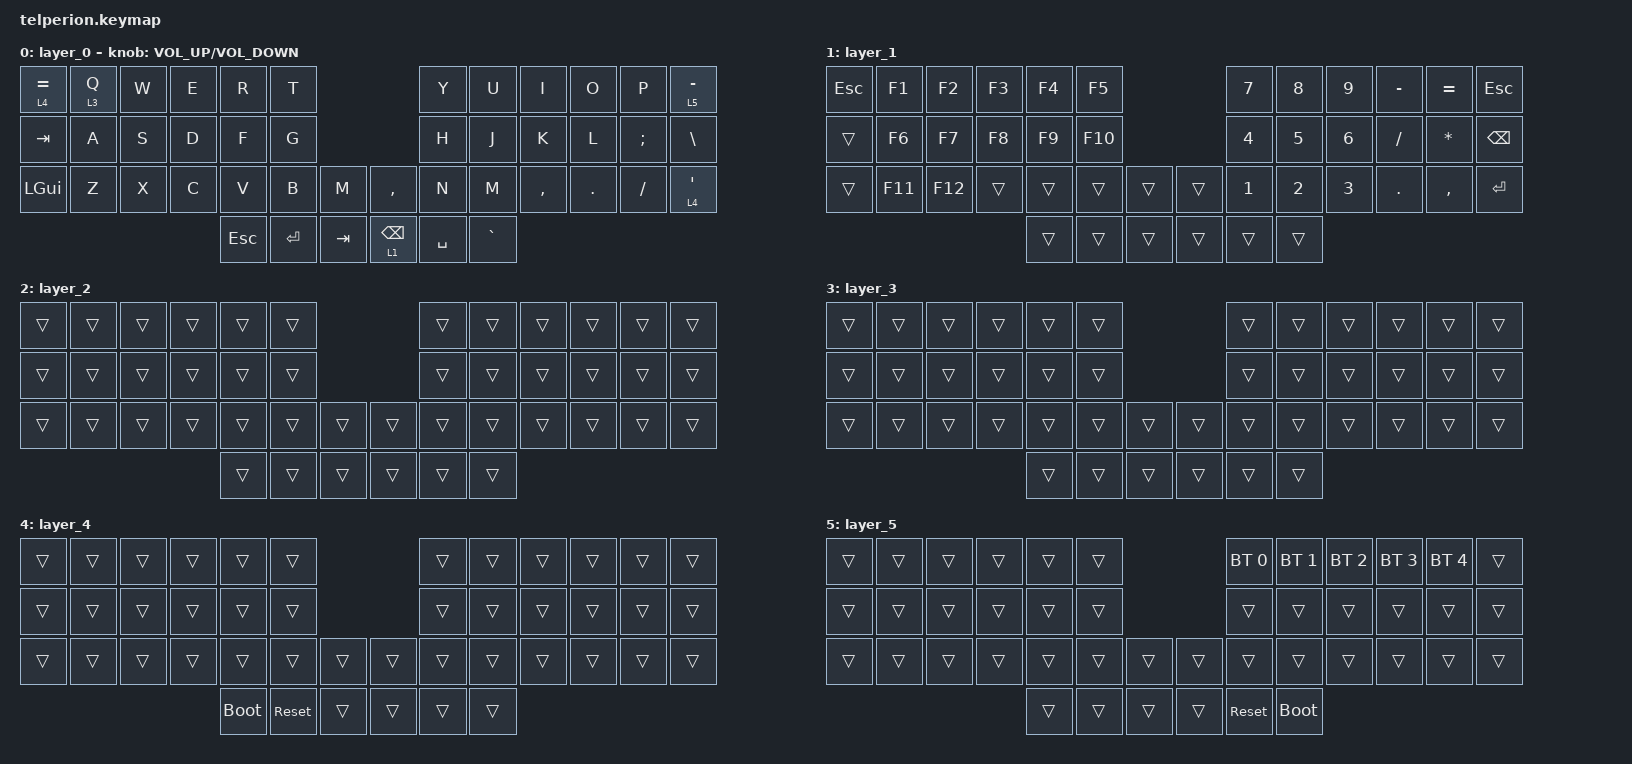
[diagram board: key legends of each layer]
/*
 * Copyright (c) 2020 The ZMK Contributors
 *
 * SPDX-License-Identifier: MIT
 */

#include <behaviors.dtsi>
#include <dt-bindings/zmk/bt.h>
#include <dt-bindings/zmk/keys.h>

/ {

    behaviors {
        hm: homerow_mods {
            compatible = "zmk,behavior-hold-tap";
            label = "HOMEROW_MODS";
            bindings = <&kp>, <&kp>;

            #binding-cells = <2>;
            tapping-term-ms = <200>;
            flavor = "tap-preferred";
            require-prior-idle-ms = <125>;
            quick-tap-ms = <200>;
        };

        shifthr: shifthr {
            compatible = "zmk,behavior-hold-tap";
            label = "SHIFTHR";
            bindings = <&kp>, <&kp>;

            #binding-cells = <2>;
            tapping-term-ms = <185>;
            flavor = "tap-preferred";
            quick-tap-ms = <185>;
        };

        weak: weak {
            compatible = "zmk,behavior-hold-tap";
            label = "WEAK";
            bindings = <&kp>, <&kp>;

            #binding-cells = <2>;
            tapping-term-ms = <230>;
            flavor = "tap-preferred";
            require-prior-idle-ms = <125>;
            quick-tap-ms = <230>;
        };

    };
    keymap {
        compatible = "zmk,keymap";

        layer_0 {
            bindings = <
&lt 4 EQUAL  &lt 3 Q  &kp W  &kp E  &kp R    &kp T                              &kp Y      &kp U      &kp I      &kp O    &kp P     &lt 5 MINUS
&kp TAB      &kp A    &kp S  &kp D  &kp F    &kp G                              &kp H      &kp J      &kp K      &kp L    &kp SEMI  &kp BSLH
&kp LGUI     &kp Z    &kp X  &kp C  &kp V    &kp B    &kp M    &kp COMMA        &kp N      &kp M      &kp COMMA  &kp DOT  &kp FSLH  &lt 4 APOS
                                    &kp ESC  &kp RET  &kp TAB  &lt 1 BACKSPACE  &kp SPACE  &kp GRAVE
            >;

            sensor-bindings = <&inc_dec_kp C_VOLUME_UP K_VOLUME_DOWN>;

        };

        layer_1 {
            bindings = <
&kp ESC  &kp F1   &kp F2   &kp F3  &kp F4  &kp F5                   &kp NUMBER_7  &kp NUMBER_8  &kp NUMBER_9  &kp MINUS   &kp EQUAL     &kp ESCAPE
&trans   &kp F6   &kp F7   &kp F8  &kp F9  &kp F10                  &kp NUMBER_4  &kp N5        &kp N6        &kp SLASH   &kp ASTERISK  &kp BACKSPACE
&trans   &kp F11  &kp F12  &trans  &trans  &trans   &trans  &trans  &kp NUMBER_1  &kp NUMBER_2  &kp NUMBER_3  &kp PERIOD  &kp COMMA     &kp ENTER
                                   &trans  &trans   &trans  &trans  &trans        &trans
            >;
        };

        layer_2 {
            bindings = <
&trans  &trans  &trans  &trans  &trans  &trans                  &trans  &trans  &trans  &trans  &trans  &trans
&trans  &trans  &trans  &trans  &trans  &trans                  &trans  &trans  &trans  &trans  &trans  &trans
&trans  &trans  &trans  &trans  &trans  &trans  &trans  &trans  &trans  &trans  &trans  &trans  &trans  &trans
                                &trans  &trans  &trans  &trans  &trans  &trans
            >;
        };

        layer_3 {
            bindings = <
&trans  &trans  &trans  &trans  &trans  &trans                  &trans  &trans  &trans  &trans  &trans  &trans
&trans  &trans  &trans  &trans  &trans  &trans                  &trans  &trans  &trans  &trans  &trans  &trans
&trans  &trans  &trans  &trans  &trans  &trans  &trans  &trans  &trans  &trans  &trans  &trans  &trans  &trans
                                &trans  &trans  &trans  &trans  &trans  &trans
            >;
        };

        layer_4 {
            bindings = <
&trans  &trans  &trans  &trans  &trans       &trans                      &trans  &trans  &trans  &trans  &trans  &trans
&trans  &trans  &trans  &trans  &trans       &trans                      &trans  &trans  &trans  &trans  &trans  &trans
&trans  &trans  &trans  &trans  &trans       &trans      &trans  &trans  &trans  &trans  &trans  &trans  &trans  &trans
                                &bootloader  &sys_reset  &trans  &trans  &trans  &trans
            >;
        };

        layer_5 {
            bindings = <
&trans  &trans  &trans  &trans  &trans  &trans                  &bt BT_SEL 0  &bt BT_SEL 1  &bt BT_SEL 2  &bt BT_SEL 3  &bt BT_SEL 4  &trans
&trans  &trans  &trans  &trans  &trans  &trans                  &trans        &trans        &trans        &trans  &trans  &trans
&trans  &trans  &trans  &trans  &trans  &trans  &trans  &trans  &trans        &trans        &trans        &trans  &trans  &trans
                                &trans  &trans  &trans  &trans  &sys_reset    &bootloader
            >;
        };
    };
};
